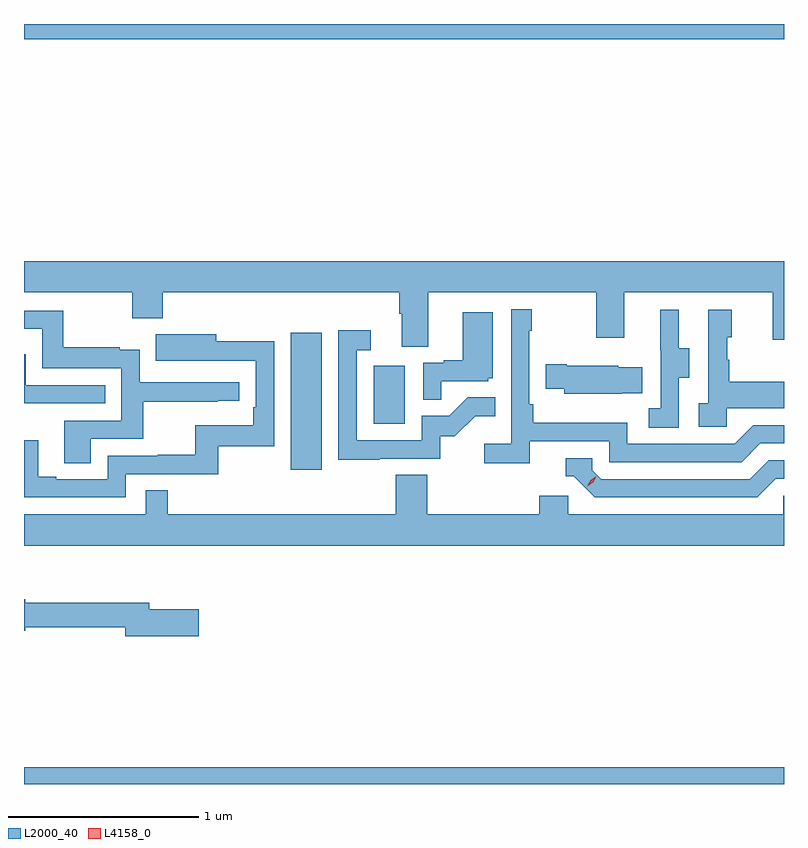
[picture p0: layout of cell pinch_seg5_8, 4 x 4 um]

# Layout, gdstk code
import gdstk
lib = gdstk.Library(unit=1e-6, precision=1e-09)
def R(c, l, rs):  # rectangles x0, y0, x1, y1
    for r in rs: c.add(gdstk.rectangle(r[:2], r[2:], *l))
def P(c, l, *ps):  # polygons
    for p in ps: c.add(gdstk.Polygon(p, *l))
L2000_40 = (2000, 40)
L4158_0 = (4158, 0)

pinch_seg5_8 = lib.new_cell('pinch_seg5_8')
R(pinch_seg5_8, L2000_40, [(1114.306,902.125,1118.306,902.212), (1115.711,903.78,1115.872,904.501), (1116.146,904.02,1116.31,904.327), (1114.306,906.044,1118.306,906.125)])
P(pinch_seg5_8, L2000_40, [(1116.433,904.712),(1117.318,904.712),(1117.318,904.473),(1117.465,904.473),(1117.465,904.712),(1118.246,904.712),(1118.246,904.464),(1118.306,904.464),(1118.306,904.876),(1114.306,904.876),(1114.306,904.712),(1114.876,904.712),(1114.876,904.577),(1115.036,904.577),(1115.036,904.712),(1116.281,904.712),(1116.281,904.6),(1116.293,904.6),(1116.293,904.426),(1116.433,904.426)],
  [(1116.968,903.93),(1117.386,903.93),(1117.386,903.819),(1118.083,903.819),(1118.182,903.918),(1118.306,903.918),(1118.306,904.014),(1118.145,904.014),(1118.046,903.915),(1117.482,903.915),(1117.482,904.027),(1116.986,904.027),(1116.986,904.123),(1116.966,904.123),(1116.966,904.511),(1116.979,904.511),(1116.979,904.624),(1116.87,904.624),(1116.87,903.916),(1116.729,903.916),(1116.729,903.814),(1116.968,903.814)],
  [(1118.004,904.103),(1118.306,904.103),(1118.306,904.243),(1118.017,904.243),(1118.017,904.358),(1118.007,904.358),(1118.007,904.476),(1118.032,904.476),(1118.032,904.621),(1117.908,904.621),(1117.908,904.13),(1117.857,904.13),(1117.857,904.005),(1118.004,904.005)],
  [(1117.752,904.264),(1117.807,904.264),(1117.807,904.419),(1117.753,904.419),(1117.753,904.621),(1117.655,904.621),(1117.655,904.407),(1117.656,904.407),(1117.656,904.103),(1117.593,904.103),(1117.593,904),(1117.752,904)],
  [(1114.657,903.942),(1114.934,903.942),(1114.934,904.138),(1115.327,904.138),(1115.327,904.143),(1115.44,904.143),(1115.44,904.239),(1114.914,904.239),(1114.914,904.411),(1114.811,904.411),(1114.811,904.423),(1114.513,904.423),(1114.513,904.617),(1114.306,904.617),(1114.306,904.52),(1114.402,904.52),(1114.402,904.314),(1114.818,904.314),(1114.818,904.038),(1114.517,904.038),(1114.517,903.814),(1114.657,903.814)],
  [(1116.503,904.245),(1116.75,904.245),(1116.75,904.26),(1116.772,904.26),(1116.772,904.609),(1116.614,904.609),(1116.614,904.354),(1116.515,904.354),(1116.515,904.341),(1116.408,904.341),(1116.408,904.147),(1116.503,904.147)],
  [(1116.179,903.837),(1116.498,903.837),(1116.498,903.954),(1116.574,903.954),(1116.681,904.061),(1116.785,904.061),(1116.785,904.16),(1116.641,904.16),(1116.543,904.062),(1116.399,904.062),(1116.399,903.933),(1116.057,903.933),(1116.057,904.407),(1116.13,904.407),(1116.13,904.513),(1115.961,904.513),(1115.961,903.832),(1116.179,903.832)],
  [(1114.842,903.756),(1115.329,903.756),(1115.329,903.903),(1115.622,903.903),(1115.622,904.454),(1115.317,904.454),(1115.317,904.492),(1114.999,904.492),(1114.999,904.352),(1115.213,904.352),(1115.213,904.353),(1115.526,904.353),(1115.526,904.108),(1115.513,904.108),(1115.513,904.012),(1115.208,904.012),(1115.208,903.857),(1115.011,903.857),(1115.011,903.852),(1114.746,903.852),(1114.746,903.729),(1114.477,903.729),(1114.477,903.742),(1114.381,903.742),(1114.381,903.935),(1114.306,903.935),(1114.306,903.633),(1114.842,903.633)],
  [(1114.733,904.224),(1114.314,904.224),(1114.314,904.387),(1114.306,904.387),(1114.306,904.128),(1114.733,904.128)],
  [(1117.451,904.181),(1117.559,904.181),(1117.559,904.318),(1117.434,904.318),(1117.434,904.327),(1117.162,904.327),(1117.162,904.335),(1117.051,904.335),(1117.051,904.205),(1117.149,904.205),(1117.149,904.178),(1117.451,904.178)],
  [(1118.263,903.732),(1118.306,903.732),(1118.306,903.828),(1118.226,903.828),(1118.127,903.729),(1117.344,903.729),(1117.296,903.777),(1117.296,903.84),(1117.157,903.84),(1117.157,903.744),(1117.2,903.744),(1117.311,903.633),(1118.164,903.633)],
  [(1118.306,903.642),(1118.301,903.642),(1118.301,903.544),(1117.17,903.544),(1117.17,903.642),(1117.019,903.642),(1117.019,903.544),(1116.428,903.544),(1116.428,903.752),(1116.263,903.752),(1116.263,903.544),(1115.063,903.544),(1115.063,903.671),(1114.947,903.671),(1114.947,903.544),(1114.306,903.544),(1114.306,903.38),(1118.306,903.38)],
  [(1115.227,903.045),(1114.966,903.045),(1114.966,903.079),(1114.312,903.079),(1114.312,903.097),(1114.306,903.097),(1114.306,902.932),(1114.312,902.932),(1114.312,902.95),(1114.838,902.95),(1114.838,902.903),(1115.227,902.903)])
P(pinch_seg5_8, L4158_0, [(1117.271,903.692),(1117.271,903.693),(1117.288,903.725),(1117.318,903.744),(1117.319,903.744),(1117.319,903.744),(1117.302,903.712),(1117.271,903.692)])

lib.write_gds('pinch_seg5_8.gds')
